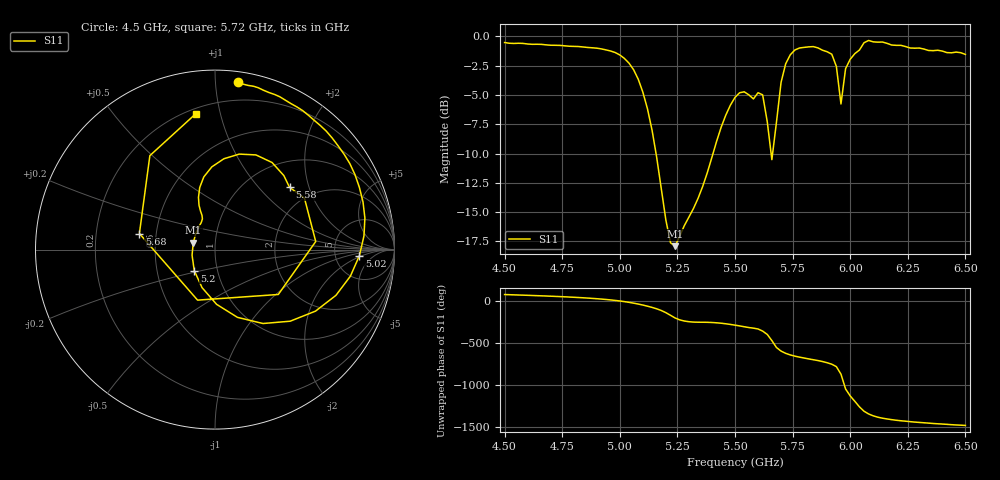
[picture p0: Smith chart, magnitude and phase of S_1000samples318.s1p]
! TOUCHSTONE file generated by CST MICROWAVE STUDIO
! Date and time: Thu Oct 27 18:20:47 2022
! Project name: L.cst
! Parameters = {Di=1.27; Epsilon_r=1.56; InnerDiameter=1.27; Length=2; Lf=10; Lg=60; OuterConductorThickness=0.2921; OuterDiameter=3.6; Wf=3; Wp=41.2; de=1.5; df=6.8; g=0.8; gx=4.84908; gy=1.69028; h=2.34; hf=1.524; px=11.0389; py=14.9151; w=9.7; wx=6.18977; wy=13.2248}
! Header version: 2018
! Port assignment regex: !\s*Touchstone port\s*([0-9]+)\s*=\s*(CST MWS port|CST DS port)\s*([0-9]+|Zmin|Zmax)\s*\(\"(.*)\"\)(\s*mode\s*([0-9]+))?.*
! Touchstone port assignment:
! Touchstone port 1 = CST MWS port 1 ("")
# GHz S DB R 50
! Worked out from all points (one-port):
!   101 points, 4.5 GHz to 6.5 GHz, reference 50 ohm
!   lowest |S11| = -17.9 dB at 5.24 GHz (marker M1), VSWR 1.29, Z = 39.1 + j3.14 ohm
!   |S11| at or under -10 dB: 5.157 GHz to 5.405 GHz (247.3 MHz wide, 4.68 % of centre); 5.656774 GHz to 5.663261 GHz (6.487 MHz wide, 0.115 % of centre)
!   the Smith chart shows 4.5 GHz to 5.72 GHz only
!   S11 on the Smith chart (normalised r, x): 4.5 GHz: 0.07, +1.14; 5.02 GHz: 8.94, -1.72; 5.2 GHz: 0.77, -0.19; 5.58 GHz: 1.53, +1.50; 5.68 GHz: 0.40, +0.09; 5.72 GHz: 0.23, +0.84
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4.5  -0.52 82.3
4.76  -0.80 55.3
5  -1.58 5.2
5.02  -1.88 -2.4
5.12  -6.18 -57.0
5.2  -15.69 -134.7
5.24  -17.91 161.9
5.26  -17.06 139.1
5.5  -5.21 75.8
5.58  -5.33 39.9
5.62  -4.99 4.6
5.66  -10.52 -109.0
5.68  -7.32 168.0
5.72  -2.33 98.1
5.76  -1.16 64.5
5.84  -0.87 21.6
5.9  -1.31 -14.5
5.94  -2.56 -61.1
5.96  -5.77 -151.6
5.98  -2.75 31.2
6  -1.95 -51.9
6.02  -1.47 -116.2
6.04  -1.16 177.4
6.06  -0.54 124.9
6.08  -0.35 92.0
6.14  -0.48 41.4
6.26  -0.99 -0.0
6.5  -1.54 -45.7
